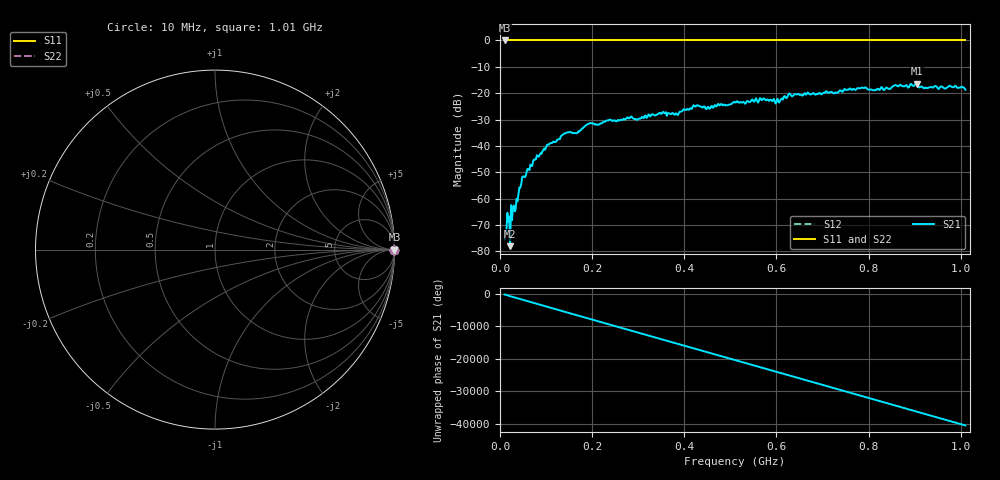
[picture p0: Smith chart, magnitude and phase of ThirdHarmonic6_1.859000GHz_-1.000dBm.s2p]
! 8/16/2025 10:29:11 PM
! C:\ANRITSUVNA\TEMP\TEMP.S2P
! CHANNEL.1
! TR.MEASUREMENT
! RAW.DATA
! RF.CORRECTION.OFF
! AVERAGING.OFF
! IF.BANDWIDTH: 5KHZ
! SWEEPTYPE:  FREQ.SWEEP(Linear)
! Reference Plane Port Info
! PORT:  PORT1  PORT2
! DISTANCE:  0  m  0  m
! TIME:  0  s  0  s
! PHASE.OFFSET:  0  deg.  0  deg.
! LOSS:  0  dB  0  dB
! REF.LOSS:  0  dB  0  dB
! REF.FREQ:  0  Hz  0  Hz
! Power Info
! POWER:  -20  dBm  -20  dBm
! EFF.POWER:  -20  dBm  -20  dBm
! SOURCE.ATTEN:  0  dB  0  dB
! TEST.ATTEN:  0  dB  0  dB
# GHZ S RI R 50.0
! FREQ.GHZ  S11RE  S11IM  S21RE  S21IM  S12RE  S12IM  S22RE  S22IM
!; PortSelection: Port_12
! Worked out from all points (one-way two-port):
!   501 points, 10 MHz to 1.01 GHz, reference 50 ohm
!   highest |S21| = -16.40 dB at 904 MHz (marker M1); lowest = -78.1 dB at 22 MHz (marker M2)
!   lowest |S11| = 0.0 dB at 10 MHz (marker M3)
!   |S11| at or under -10 dB: nowhere
!   |S22| runs from 0.0 to 0.0 dB; largest |S21 - S12| = 1.1
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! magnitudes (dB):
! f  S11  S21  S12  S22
! 10 MHz  0.0  -75.5  0.0  0.0
! 16 MHz  0.0  -65.4  0.0  0.0
! 22 MHz  0.0  -78.1  0.0  0.0
! 26 MHz  0.0  -68.2  0.0  0.0
! 28 MHz  0.0  -63.3  0.0  0.0
! 36 MHz  0.0  -60.1  0.0  0.0
! 46 MHz  0.0  -54.6  0.0  0.0
! 76 MHz  0.0  -45.2  0.0  0.0
! 136 MHz  0.0  -35.7  0.0  0.0
! 178 MHz  0.0  -33.4  0.0  0.0
! 196 MHz  0.0  -31.3  0.0  0.0
! 344 MHz  0.0  -27.8  0.0  0.0
! 382 MHz  0.0  -27.6  0.0  0.0
! 424 MHz  0.0  -25.1  0.0  0.0
! 452 MHz  0.0  -25.2  0.0  0.0
! 510 MHz  0.0  -23.5  0.0  0.0
! 602 MHz  0.0  -22.1  0.0  0.0
! 628 MHz  0.0  -20.1  0.0  0.0
! 678 MHz  0.0  -20.1  0.0  0.0
! 844 MHz  0.0  -18.4  0.0  0.0
! 904 MHz  0.0  -16.4  0.0  0.0
! 1.01 GHz  0.0  -18.7  0.0  0.0
